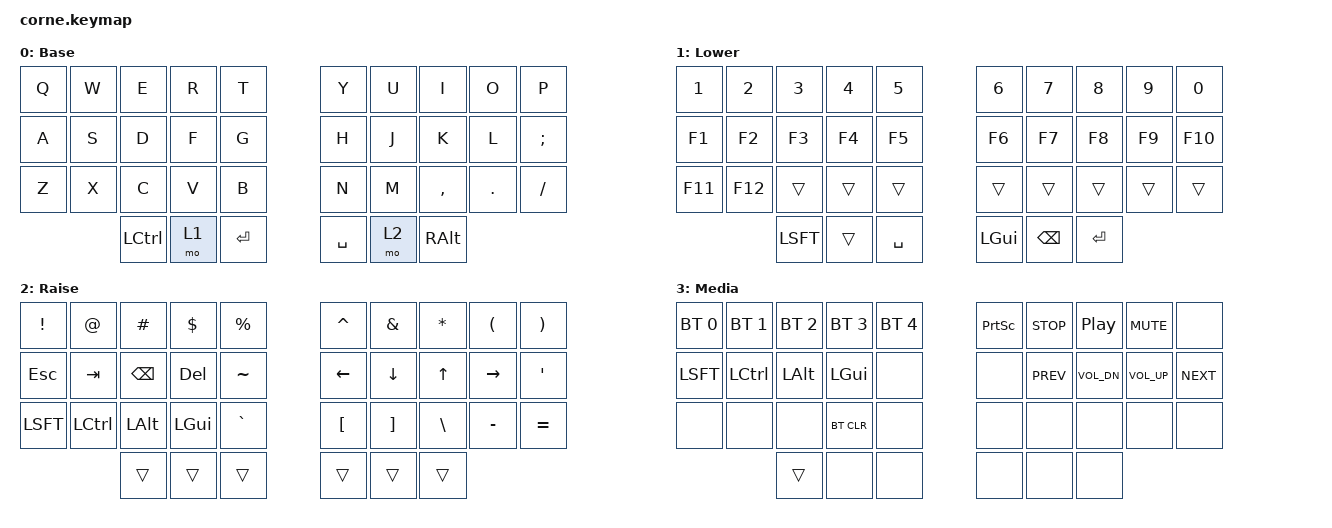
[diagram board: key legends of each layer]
/*
 * Copyright (c) 2020 The ZMK Contributors
 *
 * SPDX-License-Identifier: MIT
 */

#include <behaviors.dtsi>
#include <dt-bindings/zmk/keys.h>
#include <dt-bindings/zmk/bt.h>

/ {
    chosen {
        zmk,physical-layout = &foostan_corne_5col_layout;
    };
};

/ {
    keymap {
        compatible = "zmk,keymap";

        default_layer {
            display-name = "Base";
            bindings = <
    &kp Q     &kp W     &kp E     &kp R     &kp T         &kp Y     &kp U     &kp I     &kp O     &kp P
    &kp A     &kp S     &kp D     &kp F     &kp G         &kp H     &kp J     &kp K     &kp L     &kp SEMI
    &kp Z     &kp X     &kp C     &kp V     &kp B         &kp N     &kp M     &kp COMMA &kp DOT   &kp SLASH
                        &kp LCTRL &mo 1     &kp RET       &kp SPACE &mo 2     &kp RALT
            >;
        };

        lower_layer {
            display-name = "Lower";
            bindings = <
    &kp N1    &kp N2    &kp N3    &kp N4    &kp N5        &kp N6    &kp N7    &kp N8    &kp N9    &kp N0
    &kp F1    &kp F2    &kp F3    &kp F4    &kp F5        &kp F6    &kp F7    &kp F8    &kp F9    &kp F10
    &kp F11   &kp F12   &trans    &trans    &trans        &trans    &trans    &trans    &trans    &trans
                        &kp LSFT  &trans    &kp SPACE     &kp LGUI  &kp BSPC  &kp RET
            >;
        };

        raise_layer {
            display-name = "Raise";
            bindings = <
    &kp EXCL  &kp AT    &kp HASH  &kp DLLR  &kp PRCNT     &kp CARET &kp AMPS  &kp ASTRK &kp LPAR  &kp RPAR
    &kp ESC   &kp TAB   &kp BSPC  &kp DEL   &kp TILDE     &kp LEFT  &kp DOWN  &kp UP    &kp RIGHT &kp SQT
    &kp LSFT  &kp LCTRL &kp LALT  &kp LGUI  &kp GRAVE     &kp LBKT  &kp RBKT  &kp BSLH  &kp MINUS &kp EQUAL
                        &trans    &trans    &trans        &trans    &trans    &trans
            >;
        };

        media_layer {
            display-name = "Media";
            bindings = <
    &bt BT_SEL 0 &bt BT_SEL 1 &bt BT_SEL 2 &bt BT_SEL 3 &bt BT_SEL 4  &kp PRINTSCREEN &kp K_STOP &kp C_PP   &kp C_MUTE &none
    &kp LSFT  &kp LCTRL &kp LALT  &kp LGUI  &none         &none     &kp C_PREV &kp C_VOL_DN &kp C_VOL_UP &kp C_NEXT
    &none     &none     &none     &bt BT_CLR &none         &none     &none     &none     &none     &none
                        &trans    &none     &none         &none     &none     &none
            >;
        };
    };
};
